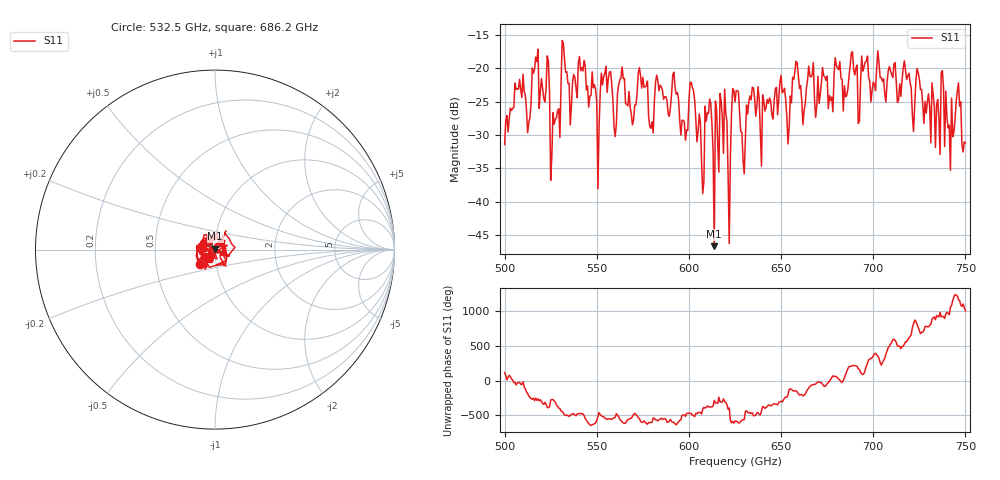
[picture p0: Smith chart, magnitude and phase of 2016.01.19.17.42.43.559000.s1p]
!Created with skrf (http://scikit-rf.org).
# GHz S RI R 50.0
!freq ReS11 ImS11
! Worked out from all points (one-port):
!   401 points, 500 GHz to 750 GHz, reference 50 ohm
!   lowest |S11| = -46.7 dB at 613.8 GHz (marker M1), VSWR 1.01, Z = 50.1 + j0.448 ohm
!   |S11| at or under -10 dB: start of sweep to end of sweep
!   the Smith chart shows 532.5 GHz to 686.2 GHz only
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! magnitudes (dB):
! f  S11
! 500 GHz  -31.4
! 506.9 GHz  -23.1
! 513.1 GHz  -28.2
! 516.9 GHz  -18.3
! 526.2 GHz  -26.7
! 531.2 GHz  -15.8
! 541.9 GHz  -19.9
! 550.6 GHz  -38.1
! 553.8 GHz  -21.3
! 560 GHz  -30.3
! 562.5 GHz  -21.8
! 569.4 GHz  -28.5
! 573.8 GHz  -21.1
! 579.4 GHz  -29.0
! 583.1 GHz  -21.8
! 593.8 GHz  -23.6
! 613.8 GHz  -46.7
! 618.1 GHz  -27.5
! 621.9 GHz  -46.3
! 625 GHz  -25.1
! 629.4 GHz  -33.8
! 633.8 GHz  -24.8
! 656.2 GHz  -21.4
! 687.5 GHz  -19.5
! 718.8 GHz  -21.2
! 742.5 GHz  -24.5
! 746.2 GHz  -22.2
! 750 GHz  -31.2
